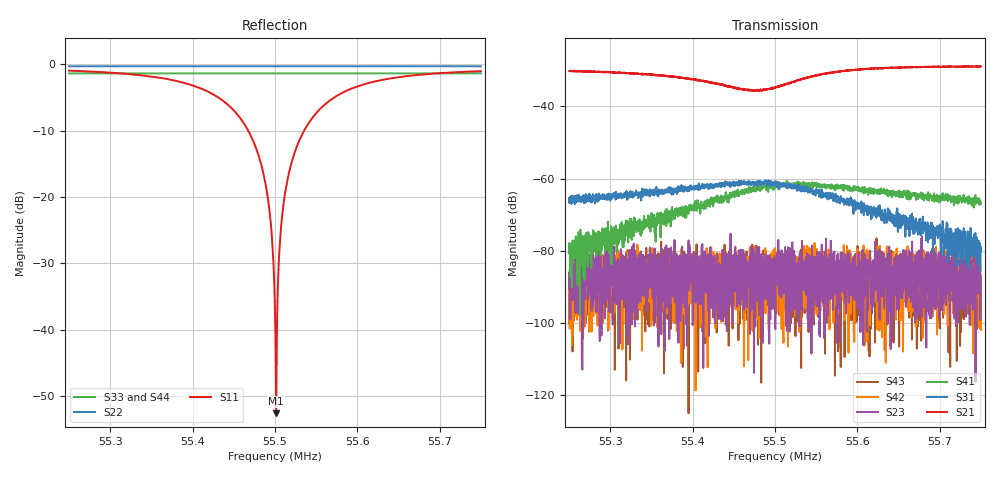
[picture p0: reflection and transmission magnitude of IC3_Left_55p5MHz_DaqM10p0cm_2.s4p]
#  HZ  S  DB  R  50.00
! Rohde & Schwarz Vector Network Analyzer
! Rohde-Schwarz,ZNB8-4Port,1311601044102961,2.82
! Created: UTC 2/13/2019, 9:55:15 AM
! freq[Hz]  db:S11  ang:S11  db:S12  ang:S12  db:S13  ang:S13  db:S14  ang:S14
!  db:S21  ang:S21  db:S22  ang:S22  db:S23  ang:S23  db:S24  ang:S24
!  db:S31  ang:S31  db:S32  ang:S32  db:S33  ang:S33  db:S34  ang:S34
!  db:S41  ang:S41  db:S42  ang:S42  db:S43  ang:S43  db:S44  ang:S44
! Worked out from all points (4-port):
!   2001 points, 55.25 MHz to 55.75 MHz, reference 50 ohm
!   strongest paths, dB at 55.25 MHz, 55.375 MHz, 55.5 MHz, 55.625 MHz, 55.75 MHz:
!     S21: -30.2, -31.7, -34.8, -29.4, -28.9
!     S31: -65.4, -63.8, -61.4, -67.8, -78.9
!     S41: -79.7, -67.8, -61.6, -63.4, -66.9
!     S23: -87.6, -81.5, -96.9, -84.3, -87.3
!     S42: -91.6, -85.7, -90.8, -94.1, -101.9
!     S43: -87.3, -86.3, -83.1, -93.1, -88.6
!   lowest |S11| = -52.6 dB at 55.5012 MHz (marker M1), VSWR 1.00, Z = 50 + j0.232 ohm
!   |S11| at or under -10 dB: 55.4674 MHz to 55.53537 MHz (67.97 kHz wide, 0.122 % of centre)
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5.525e7  -0.97 -127.5  -30.12 74.1  -65.64 -139.9  -78.66 19.4
         -30.21 73.5  -0.31 94.3  -87.58 110.9  -87.48 19.7
         -65.37 -136.2  -93.66 -17.3  -1.39 34.9  -80.45 -81.8
         -79.75 2.2  -91.62 62.6  -87.32 93.0  -1.38 28.5
5.545525e7  -7.72 176.5  -34.92 72.1  -61.32 170.5  -64.87 -33.2
            -34.98 72.0  -0.30 90.5  -83.33 -48.1  -83.15 165.0
            -60.93 167.8  -94.04 -44.6  -1.39 32.4  -88.80 -68.0
            -64.69 -35.0  -99.98 62.6  -81.38 -125.0  -1.37 26.0
5.548875e7  -18.18 155.6  -35.42 90.0  -60.56 147.8  -62.86 -52.1
            -35.52 90.3  -0.31 89.9  -83.78 -2.3  -89.60 -164.6
            -60.65 153.4  -87.77 179.6  -1.38 32.0  -100.18 165.9
            -61.82 -43.6  -79.84 57.6  -84.44 -122.7  -1.38 25.5
5.550125e7  -52.56 99.5  -34.88 96.9  -61.10 145.1  -62.16 -54.0
            -34.64 95.7  -0.32 89.6  -86.03 -38.4  -93.57 43.0
            -61.49 142.9  -84.12 155.8  -1.38 31.9  -83.68 124.2
            -62.23 -55.8  -82.83 52.6  -83.81 -78.1  -1.37 25.4
5.5514e7  -18.16 -38.8  -33.90 100.8  -62.10 139.9  -62.13 -63.4
          -33.77 100.5  -0.31 89.4  -86.58 121.1  -91.11 40.8
          -61.92 137.5  -90.80 -118.9  -1.38 31.8  -83.64 -133.9
          -61.62 -64.2  -91.53 111.9  -85.40 -64.1  -1.37 25.2
5.55475e7  -7.74 -59.6  -31.56 101.6  -62.96 124.8  -61.11 -83.4
           -31.61 100.7  -0.31 88.8  -84.04 17.4  -95.21 -52.5
           -63.62 111.9  -82.27 -8.2  -1.38 31.4  -83.14 142.7
           -61.57 -84.7  -93.55 -132.9  -82.57 91.7  -1.38 24.8
5.575e7  -1.04 -115.3  -28.96 76.0  -81.81 52.3  -67.60 -130.2
         -28.88 76.0  -0.31 85.2  -87.33 180.0  -88.60 -135.5
         -78.91 86.7  -85.72 -110.5  -1.37 29.0  -87.85 -59.3
         -66.90 -134.4  -101.89 -20.4  -88.60 19.6  -1.37 22.4
